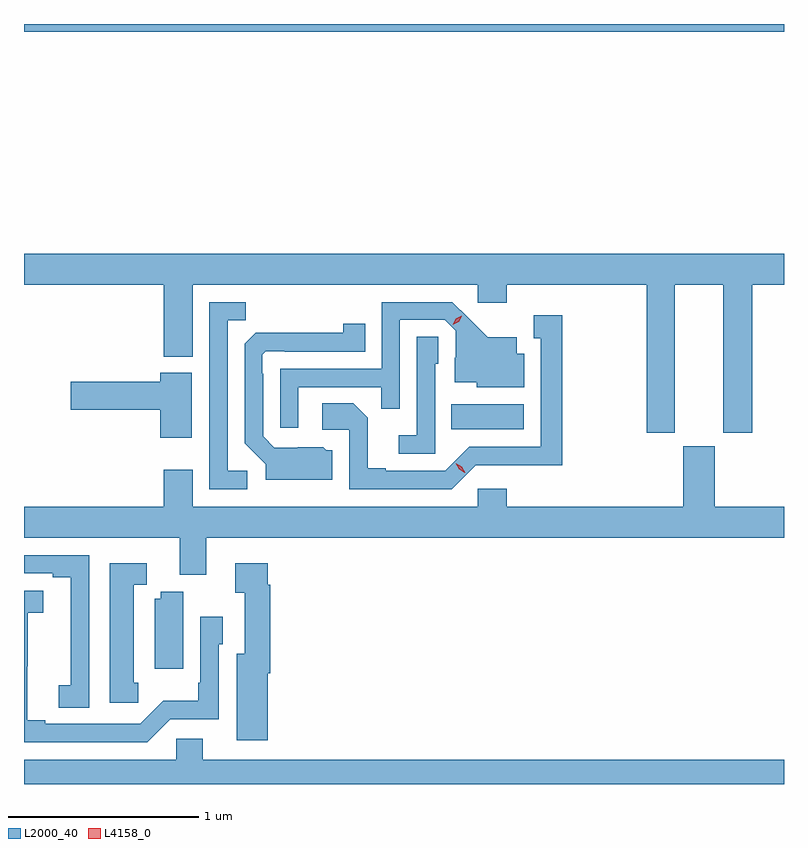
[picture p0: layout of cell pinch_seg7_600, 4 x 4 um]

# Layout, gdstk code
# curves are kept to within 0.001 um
import gdstk
lib = gdstk.Library(unit=1e-6, precision=1e-09)
def R(c, l, rs):  # rectangles x0, y0, x1, y1
    for r in rs: c.add(gdstk.rectangle(r[:2], r[2:], *l))
def P(c, l, *ps):  # polygons
    for p in ps: c.add(gdstk.Polygon(p, *l))
L2000_40 = (2000, 40)
L4158_0 = (4158, 0)

pinch_seg7_600 = lib.new_cell('pinch_seg7_600')
R(pinch_seg7_600, L2000_40, [(174.886,1030.49,175.267,1030.624), (172.637,1032.584,176.637,1032.624)])
P(pinch_seg7_600, L2000_40, [(176.062,1031.252),(176.318,1031.252),(176.318,1030.473),(176.471,1030.473),(176.471,1031.252),(176.637,1031.252),(176.637,1031.416),(172.637,1031.416),(172.637,1031.252),(173.372,1031.252),(173.372,1030.874),(173.524,1030.874),(173.524,1031.252),(175.026,1031.252),(175.026,1031.157),(175.178,1031.157),(175.178,1031.252),(175.915,1031.252),(175.915,1030.473),(176.062,1030.473)],
  [(173.812,1030.272),(173.709,1030.272),(173.709,1031.065),(173.805,1031.065),(173.805,1031.16),(173.613,1031.16),(173.613,1030.176),(173.812,1030.176)],
  [(174.081,1030.713),(174.517,1030.713),(174.517,1030.6),(174.615,1030.6),(174.615,1031.067),(174.852,1031.067),(174.909,1031.01),(174.909,1030.868),(174.905,1030.868),(174.905,1030.739),(175.02,1030.739),(175.02,1030.712),(175.27,1030.712),(175.27,1030.888),(175.231,1030.888),(175.231,1030.975),(175.079,1030.975),(174.892,1031.16),(174.519,1031.16),(174.519,1030.809),(173.985,1030.809),(173.985,1030.5),(174.081,1030.5)],
  [(175.014,1030.302),(175.469,1030.301),(175.469,1031.092),(175.319,1031.092),(175.319,1030.971),(175.358,1030.971),(175.358,1030.398),(174.981,1030.398),(174.855,1030.272),(174.541,1030.272),(174.541,1030.285),(174.447,1030.285),(174.447,1030.552),(174.371,1030.628),(174.207,1030.628),(174.207,1030.488),(174.348,1030.488),(174.348,1030.176),(174.888,1030.176)],
  [(174.259,1030.38),(174.228,1030.38),(174.212,1030.396),(173.955,1030.395),(173.895,1030.455),(173.895,1030.784),(173.892,1030.784),(173.892,1030.884),(173.91,1030.902),(174.01,1030.902),(174.01,1030.899),(174.434,1030.899),(174.434,1031.047),(174.316,1031.047),(174.316,1031),(173.858,1030.999),(173.799,1030.94),(173.799,1030.418),(173.909,1030.308),(173.909,1030.226),(174.259,1030.226)],
  [(174.801,1030.836),(174.816,1030.836),(174.816,1030.979),(174.705,1030.979),(174.705,1030.459),(174.609,1030.459),(174.609,1030.362),(174.801,1030.362)],
  [(173.521,1030.789),(173.354,1030.789),(173.354,1030.742),(172.884,1030.742),(172.884,1030.595),(173.354,1030.595),(173.354,1030.446),(173.521,1030.446)],
  [(173.596,1029.92),(176.637,1029.92),(176.637,1030.084),(176.272,1030.084),(176.272,1030.401),(176.108,1030.401),(176.108,1030.084),(175.178,1030.084),(175.178,1030.177),(175.026,1030.177),(175.026,1030.084),(173.524,1030.084),(173.524,1030.279),(173.372,1030.279),(173.372,1030.084),(172.637,1030.084),(172.637,1029.92),(173.456,1029.92),(173.456,1029.726),(173.596,1029.726)],
  [(172.98,1029.828),(172.637,1029.828),(172.637,1029.732),(172.787,1029.732),(172.787,1029.712),(172.883,1029.712),(172.883,1029.449),(172.882,1029.449),(172.882,1029.145),(172.821,1029.145),(172.821,1029.025),(172.98,1029.025)],
  [(173.92,1029.206),(173.933,1029.206),(173.933,1029.674),(173.92,1029.674),(173.92,1029.787),(173.748,1029.787),(173.748,1029.631),(173.798,1029.631),(173.798,1029.31),(173.756,1029.31),(173.756,1028.853),(173.92,1028.853)],
  [(173.237,1029.156),(173.215,1029.156),(173.215,1029.672),(173.284,1029.672),(173.284,1029.787),(173.087,1029.787),(173.087,1029.051),(173.237,1029.051)],
  [(173.406,1028.964),(173.661,1028.964),(173.661,1029.36),(173.682,1029.36),(173.682,1029.505),(173.565,1029.505),(173.565,1029.157),(173.553,1029.157),(173.553,1029.061),(173.371,1029.061),(173.25,1028.94),(172.75,1028.94),(172.75,1028.96),(172.654,1028.96),(172.656,1029.526),(172.738,1029.526),(172.738,1029.641),(172.637,1029.641),(172.637,1028.844),(173.286,1028.844)],
  [(173.476,1029.635),(173.356,1029.635),(173.356,1029.598),(173.324,1029.598),(173.324,1029.231),(173.476,1029.231)],
  [(176.637,1028.752),(173.578,1028.752),(173.578,1028.862),(173.439,1028.862),(173.439,1028.752),(172.637,1028.752),(172.637,1028.624),(176.637,1028.624)])
P(pinch_seg7_600, L4158_0, [(174.958,1030.261),(174.927,1030.28),(174.91,1030.313),(174.91,1030.313),(174.91,1030.313),(174.941,1030.294),(174.959,1030.261),(174.959,1030.261)],
  [(174.893,1031.042),(174.893,1031.042),(174.91,1031.072),(174.94,1031.088),(174.941,1031.088),(174.941,1031.087),(174.924,1031.058),(174.894,1031.042)])

lib.write_gds('pinch_seg7_600.gds')
